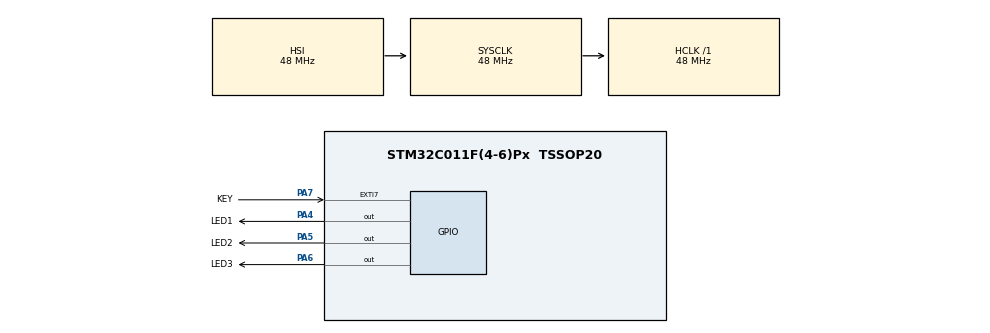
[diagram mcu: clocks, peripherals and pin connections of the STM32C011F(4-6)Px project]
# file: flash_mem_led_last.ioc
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Mcu.Family=STM32C0
Mcu.Name=STM32C011F(4-6)Px
Mcu.Package=TSSOP20
NVIC.EXTI4_15_IRQn=true\:0\:0\:false\:false\:true\:true\:true\:true
PA13.Mode=Serial_Wire
PA13.Signal=DEBUG_SWDIO
PA14-BOOT0.Mode=Serial_Wire
PA14-BOOT0.Signal=DEBUG_SWCLK
PA4.GPIO_Label=LED1
PA4.Signal=GPIO_Output
PA5.GPIO_Label=LED2
PA5.Signal=GPIO_Output
PA6.GPIO_Label=LED3
PA6.Signal=GPIO_Output
PA7.GPIO_Label=KEY
PA7.Signal=GPXTI7
PC14-OSCX_IN\ (PC14).Mode=HSE-External-Oscillator-REMAPPED
PC14-OSCX_IN\ (PC14).Signal=RCC_OSCX_IN
PC15-OSCX_OUT\ (PC15).Mode=HSE-External-Oscillator-REMAPPED
PC15-OSCX_OUT\ (PC15).Signal=RCC_OSCX_OUT
ProjectManager.HeapSize=0x200
ProjectManager.StackSize=0x400
ProjectManager.TargetToolchain=STM32CubeIDE
RCC.ADCFreq_Value=48000000
RCC.AHBFreq_Value=48000000
RCC.CortexFreq_Value=48000000
RCC.EXTERNAL_CLOCK_VALUE=12288000
RCC.HCLKFreq_Value=48000000
RCC.HSE_VALUE=8000000
RCC.HSISYSCLKDivider=RCC_HSI_DIV1
RCC.HSI_VALUE=48000000
RCC.LSE_VALUE=32768
RCC.SYSCLKFreq_VALUE=48000000
board=custom

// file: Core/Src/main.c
/* USER CODE BEGIN Header */
/**
 ******************************************************************************
 * @file           : main.c
 * @brief          : Main program body
 ******************************************************************************
 * @attention
 *
 * Copyright (c) 2024 STMicroelectronics.
 * All rights reserved.
 *
 * This software is licensed under terms that can be found in the LICENSE file
 * in the root directory of this software component.
 * If no LICENSE file comes with this software, it is provided AS-IS.
 *
 ******************************************************************************
 */
/* USER CODE END Header */
#include "main.h"

/* USER CODE BEGIN Includes */
#include "stdio.h"
#include <stdlib.h>
#include "string.h"
/* USER CODE END Includes */

/* USER CODE BEGIN PD */
uint8_t count=0;
#define Address 0x08007800
uint32_t wait = 250; // 5 sec
#define FLASH_USER_START_ADDR 0x08007000
/* USER CODE END PD */

void SystemClock_Config(void);
static void MX_GPIO_Init(void);
/* USER CODE BEGIN PFP */
void Flash_ErasePage(uint32_t pageAddress);
void WriteData(uint8_t Data);
void RetriveData(void);
/* USER CODE END PFP */

/* USER CODE BEGIN 0 */
void Flash_EraseSector(uint32_t address, uint32_t size)
{
	HAL_FLASH_Unlock();
	FLASH_EraseInitTypeDef eraseInitStruct;
	uint32_t pageError;

	eraseInitStruct.TypeErase = FLASH_TYPEERASE_PAGES;
	eraseInitStruct.Page = address;
	eraseInitStruct.NbPages = (size+FLASH_PAGE_SIZE-1)/FLASH_PAGE_SIZE;
	if(HAL_FLASHEx_Erase(&eraseInitStruct, &pageError)!= HAL_OK)
	{

	}
	HAL_FLASH_Lock();

}
void RetriveData(void)
{
	//uint8_t Data =(uint8_t)(*((volatile uint32_t*)Address));
	uint8_t Data = *(volatile uint8_t*)Address;

	if(Data>=0 && Data <4)
	{
		count=Data;
	}else
	{
		count=3;
	}
}
void Flash_ErasePage(uint32_t pageAddress)
{
	HAL_FLASH_Unlock();

	FLASH_EraseInitTypeDef eraseInitStruct;
	uint32_t pageError;

	eraseInitStruct.TypeErase = FLASH_TYPEERASE_PAGES;
	eraseInitStruct.Page = (pageAddress - FLASH_BASE) / FLASH_PAGE_SIZE;
	eraseInitStruct.NbPages = 1;

	if (HAL_FLASHEx_Erase(&eraseInitStruct, &pageError) != HAL_OK)
	{
		// Error handling
	}

	HAL_FLASH_Lock();
}

void WriteData(uint8_t Data)
{
	HAL_StatusTypeDef status;
	HAL_FLASH_Unlock();
	status = HAL_FLASH_Program(FLASH_TYPEPROGRAM_DOUBLEWORD, (volatile uint32_t)Address, Data);
	HAL_FLASH_Lock();
}
void Flash_Write(uint32_t address, uint32_t *data, uint32_t length)
{
	HAL_FLASH_Unlock();
    for (uint32_t i = 0; i < length; i++) {
        if (HAL_FLASH_Program(FLASH_TYPEPROGRAM_DOUBLEWORD, address, data[i]) != HAL_OK) {
            // Error handling
            break;
        }
        address += 4;
    }

    HAL_FLASH_Lock();
}

void Flash_Read(uint32_t address, uint32_t *data, uint32_t length)
{
    for (uint32_t i = 0; i < length; i++) {
        data[i] = *(__IO uint32_t*)address;
        address += 4;
    }
}

void IntToStr(int num, char *str) {
    sprintf(str, "%d", num);
}

int StrToInt(const char *str) {
    return atoi(str);
}

void FloatToStr(float num, char *str) {
    sprintf(str, "%.2f", num);
}

float StrToFloat(const char *str) {
    return atof(str);
}
/* USER CODE END 0 */

int main(void)
{

  /* MCU Configuration--------------------------------------------------------*/

  /* Reset of all peripherals, Initializes the Flash interface and the Systick. */
  HAL_Init();

  /* Configure the system clock */
  SystemClock_Config();

  /* Initialize all configured peripherals */
  MX_GPIO_Init();
  /* USER CODE BEGIN 2 */
	uint32_t tickstart = HAL_GetTick();
	RetriveData();

	uint32_t dataToWrite[2] = {0x12345678, 0x9ABCDEF0};
	uint32_t dataRead[2] = {0};

//	    Flash_ErasePage(FLASH_USER_START_ADDR);
//	    Flash_Write(FLASH_USER_START_ADDR, dataToWrite, 2);
//	    Flash_Read(FLASH_USER_START_ADDR, dataRead, 2);
//
//	    char str[10];
//	    IntToStr(1234, str);
//	    int num = StrToInt(str);
//
//	    FloatToStr(1234.56, str);
//	    float fnum = StrToFloat(str);
  /* USER CODE END 2 */

  /* Infinite loop */
	while (1)
	{

    /* USER CODE BEGIN 3 */
		switch (count)
		{
		case 1:
			HAL_GPIO_WritePin(LED1_GPIO_Port, LED1_Pin, GPIO_PIN_SET);
			HAL_GPIO_WritePin(LED2_GPIO_Port, LED2_Pin, GPIO_PIN_RESET);
			HAL_GPIO_WritePin(LED3_GPIO_Port, LED3_Pin, GPIO_PIN_RESET);
			break;
		case 2:
			HAL_GPIO_WritePin(LED1_GPIO_Port, LED1_Pin, GPIO_PIN_RESET);
			HAL_GPIO_WritePin(LED2_GPIO_Port, LED2_Pin, GPIO_PIN_SET);
			HAL_GPIO_WritePin(LED3_GPIO_Port, LED3_Pin, GPIO_PIN_RESET);
			break;
		case 3:
			HAL_GPIO_WritePin(LED1_GPIO_Port, LED1_Pin, GPIO_PIN_RESET);
			HAL_GPIO_WritePin(LED2_GPIO_Port, LED2_Pin, GPIO_PIN_RESET);
			HAL_GPIO_WritePin(LED3_GPIO_Port, LED3_Pin, GPIO_PIN_SET);
			break;
		default:
			HAL_GPIO_WritePin(LED1_GPIO_Port, LED1_Pin, GPIO_PIN_RESET);
			HAL_GPIO_WritePin(LED2_GPIO_Port, LED2_Pin, GPIO_PIN_RESET);
			HAL_GPIO_WritePin(LED3_GPIO_Port, LED3_Pin, GPIO_PIN_RESET);
			break;
		}
		if ((HAL_GetTick() - tickstart) > wait)
		{
			Flash_ErasePage(Address);
			WriteData(count);
			tickstart = HAL_GetTick();
		}
	}
  /* USER CODE END 3 */
}

void SystemClock_Config(void)
{
  RCC_OscInitTypeDef RCC_OscInitStruct = {0};
  RCC_ClkInitTypeDef RCC_ClkInitStruct = {0};

  /** Initializes the RCC Oscillators according to the specified parameters
  * in the RCC_OscInitTypeDef structure.
  */
  RCC_OscInitStruct.OscillatorType = RCC_OSCILLATORTYPE_HSI;
  RCC_OscInitStruct.HSIState = RCC_HSI_ON;
  RCC_OscInitStruct.HSIDiv = RCC_HSI_DIV1;
  RCC_OscInitStruct.HSICalibrationValue = RCC_HSICALIBRATION_DEFAULT;
  if (HAL_RCC_OscConfig(&RCC_OscInitStruct) != HAL_OK)
  {
    Error_Handler();
  }

  /** Initializes the CPU, AHB and APB buses clocks
  */
  RCC_ClkInitStruct.ClockType = RCC_CLOCKTYPE_HCLK|RCC_CLOCKTYPE_SYSCLK
                              |RCC_CLOCKTYPE_PCLK1;
  RCC_ClkInitStruct.SYSCLKSource = RCC_SYSCLKSOURCE_HSI;
  RCC_ClkInitStruct.SYSCLKDivider = RCC_SYSCLK_DIV1;
  RCC_ClkInitStruct.AHBCLKDivider = RCC_HCLK_DIV1;
  RCC_ClkInitStruct.APB1CLKDivider = RCC_APB1_DIV1;

  if (HAL_RCC_ClockConfig(&RCC_ClkInitStruct, FLASH_LATENCY_1) != HAL_OK)
  {
    Error_Handler();
  }
}

static void MX_GPIO_Init(void)
{
  GPIO_InitTypeDef GPIO_InitStruct = {0};

  /* GPIO Ports Clock Enable */
  __HAL_RCC_GPIOC_CLK_ENABLE();
  __HAL_RCC_GPIOA_CLK_ENABLE();

  /*Configure GPIO pin Output Level */
  HAL_GPIO_WritePin(GPIOA, LED1_Pin|LED2_Pin|LED3_Pin, GPIO_PIN_RESET);

  /*Configure GPIO pins : LED1_Pin LED2_Pin LED3_Pin */
  GPIO_InitStruct.Pin = LED1_Pin|LED2_Pin|LED3_Pin;
  GPIO_InitStruct.Mode = GPIO_MODE_OUTPUT_PP;
  GPIO_InitStruct.Pull = GPIO_NOPULL;
  GPIO_InitStruct.Speed = GPIO_SPEED_FREQ_LOW;
  HAL_GPIO_Init(GPIOA, &GPIO_InitStruct);

  /*Configure GPIO pin : KEY_Pin */
  GPIO_InitStruct.Pin = KEY_Pin;
  GPIO_InitStruct.Mode = GPIO_MODE_IT_RISING;
  GPIO_InitStruct.Pull = GPIO_NOPULL;
  HAL_GPIO_Init(KEY_GPIO_Port, &GPIO_InitStruct);

  /* EXTI interrupt init*/
  HAL_NVIC_SetPriority(EXTI4_15_IRQn, 0, 0);
  HAL_NVIC_EnableIRQ(EXTI4_15_IRQn);

}

/* USER CODE BEGIN 4 */

//void WriteData(uint32_t address, uint32_t *data, uint32_t length)
//{
//	 HAL_FLASH_Unlock();
//
//	    HAL_StatusTypeDef status;
//
//	    for (uint32_t i = 0; i < length; i++) {
//	        status = HAL_FLASH_Program(FLASH_TYPEPROGRAM_DOUBLEWORD, address, data[i]);
//	        if (status != HAL_OK) {
//	            // Error handling
//	            break;
//	        }
//	        address += 4;
//	    }
//
//	    HAL_FLASH_Lock();
//}

//
//void Flash_EraseSector(uint32_t address, uint32_t size)
//{
//	HAL_FLASH_Unlock();
//	 FLASH_EraseInitTypeDef eraseInitStruct;
//	    uint32_t pageError;
//
//	    eraseInitStruct.TypeErase = FLASH_TYPEERASE_PAGES;
//	    eraseInitStruct.Page = address;
//	    eraseInitStruct.NbPages = (size + FLASH_PAGE_SIZE - 1) / FLASH_PAGE_SIZE;
//
//	    if (HAL_FLASHEx_Erase(&eraseInitStruct, &pageError) != HAL_OK) {
//	        // Error handling
//	    }
//
//	    HAL_FLASH_Lock();
//}
//
//void Flash_Write(uint32_t address, uint32_t *data, uint32_t length)
//{
//	HAL_FLASH_Unlock();
//
//for (uint32_t i = 0; i < length; i++) {
//    if (HAL_FLASH_Program(FLASH_TYPEPROGRAM_DOUBLEWORD, address, data[i]) != HAL_OK) {
//        // Error handling
//        break;
//    }
//    address += 4;
//}
//
//HAL_FLASH_Lock();
//
//}
//
//void Flash_Read(uint32_t address, uint32_t *data, uint32_t length) {
//    for (uint32_t i = 0; i < length; i++) {
//        data[i] = *(__IO uint32_t*)address;
//        address += 4;
//    }
//}
//
//void IntToStr(int num, char *str) {
//    sprintf(str, "%d", num);
//}
//
//int StrToInt(const char *str) {
//    return atoi(str);
//}
//
//void FloatToStr(float num, char *str) {
//    sprintf(str, "%.2f", num);
//}
//
//float StrToFloat(const char *str) {
//    return atof(str);
//}
/* USER CODE END 4 */

void Error_Handler(void)
{
	__disable_irq();
	while (1)
	{
	}
}
